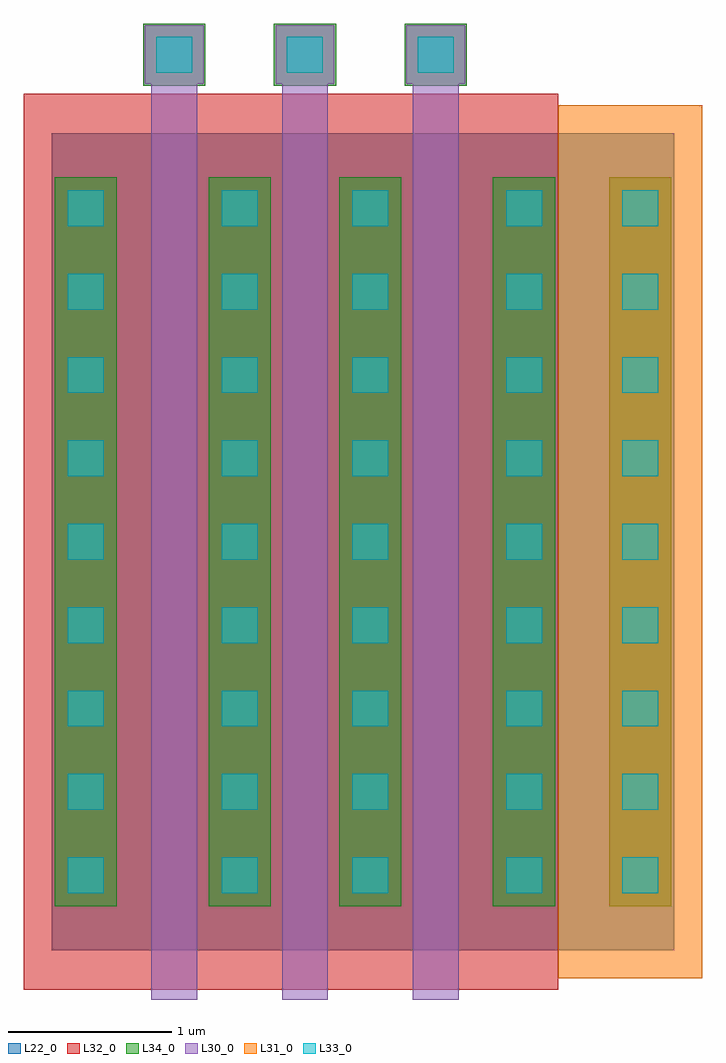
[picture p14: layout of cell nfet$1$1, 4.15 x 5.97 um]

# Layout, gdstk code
import gdstk
lib = gdstk.Library(unit=1e-6, precision=1e-09)
def R(c, l, rs):  # rectangles x0, y0, x1, y1
    for r in rs: c.add(gdstk.rectangle(r[:2], r[2:], *l))
def A(c, l, x, y, w, h, nx, ny, dx, dy):  # array of equal rectangles
    R(c, l, [(x+i*dx, y+j*dy, x+i*dx+w, y+j*dy+h) for i in range(nx) for j in range(ny)])
L22_0 = (22, 0)
L30_0 = (30, 0)
L31_0 = (31, 0)
L32_0 = (32, 0)
L33_0 = (33, 0)
L34_0 = (34, 0)

nfet_1_1 = lib.new_cell('nfet$1$1')
R(nfet_1_1, L22_0, [(-0.42,0,0,5), (0,0,2.26,5), (2.26,0,2.68,5), (2.68,0,3.39,5)])
A(nfet_1_1, L30_0, 0.19, -0.3, 0.28, 5.6, 3, 1, 0.8, 0)
A(nfet_1_1, L30_0, 0.15, 5.3, 0.36, 0.36, 3, 1, 0.8, 0)
R(nfet_1_1, L31_0, [(2.68,-0.17,3.56,5.17)])
R(nfet_1_1, L32_0, [(-0.59,-0.24,2.68,5.24)])
A(nfet_1_1, L33_0, -0.32, 0.35, 0.22, 0.22, 1, 9, 0, 0.51)
A(nfet_1_1, L33_0, 0.62, 0.35, 0.22, 0.22, 1, 9, 0, 0.51)
A(nfet_1_1, L33_0, 1.42, 0.35, 0.22, 0.22, 1, 9, 0, 0.51)
A(nfet_1_1, L33_0, 2.36, 0.35, 0.22, 0.22, 1, 9, 0, 0.51)
A(nfet_1_1, L33_0, 3.07, 0.35, 0.22, 0.22, 1, 9, 0, 0.51)
A(nfet_1_1, L33_0, 0.22, 5.37, 0.22, 0.22, 3, 1, 0.8, 0)
A(nfet_1_1, L34_0, 0.14, 5.29, 0.38, 0.38, 3, 1, 0.8, 0)
R(nfet_1_1, L34_0, [(-0.4,0.27,-0.02,4.73), (0.54,0.27,0.92,4.73), (1.34,0.27,1.72,4.73), (2.28,0.27,2.66,4.73), (2.99,0.27,3.37,4.73)])

lib.write_gds('nfet_1_1.gds')
